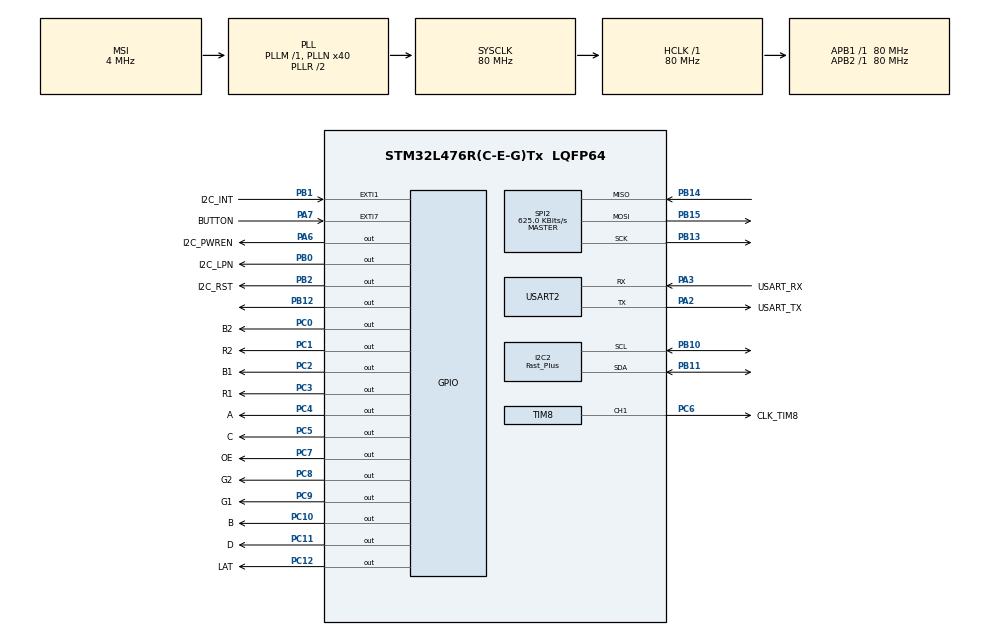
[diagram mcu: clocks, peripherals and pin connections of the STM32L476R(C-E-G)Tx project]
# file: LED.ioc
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Dma.Request0=TIM8_CH1
Dma.Request1=USART2_TX
Dma.TIM8_CH1.0.Direction=DMA_MEMORY_TO_PERIPH
Dma.TIM8_CH1.0.Instance=DMA2_Channel6
Dma.TIM8_CH1.0.MemDataAlignment=DMA_MDATAALIGN_WORD
Dma.TIM8_CH1.0.MemInc=DMA_MINC_ENABLE
Dma.TIM8_CH1.0.Mode=DMA_NORMAL
Dma.TIM8_CH1.0.PeriphDataAlignment=DMA_PDATAALIGN_WORD
Dma.TIM8_CH1.0.PeriphInc=DMA_PINC_DISABLE
Dma.TIM8_CH1.0.Priority=DMA_PRIORITY_LOW
Dma.USART2_TX.1.Direction=DMA_MEMORY_TO_PERIPH
Dma.USART2_TX.1.Instance=DMA1_Channel7
Dma.USART2_TX.1.MemDataAlignment=DMA_MDATAALIGN_BYTE
Dma.USART2_TX.1.MemInc=DMA_MINC_ENABLE
Dma.USART2_TX.1.Mode=DMA_CIRCULAR
Dma.USART2_TX.1.PeriphDataAlignment=DMA_PDATAALIGN_BYTE
Dma.USART2_TX.1.PeriphInc=DMA_PINC_DISABLE
Dma.USART2_TX.1.Priority=DMA_PRIORITY_LOW
FATFS._FS_LOCK=0
FATFS._USE_LFN=3
FATFS._USE_STRFUNC=1
FREERTOS.Tasks01=defaultTask,0,2048,StartDefaultTask,Default,NULL,Dynamic,NULL,NULL
FREERTOS.configTOTAL_HEAP_SIZE=16000
I2C2.I2C_Speed_Mode=I2C_Fast_Plus
I2C2.Timing=0x00B10E24
Mcu.Family=STM32L4
Mcu.Name=STM32L476R(C-E-G)Tx
Mcu.Package=LQFP64
Mcu.UserConstants=PWM_FILL,1;TIM8_PRESCALER,3;REPETITIONS,64;PWM_PERIOD,5
NVIC.DMA1_Channel7_IRQn=true\:5\:0\:false\:false\:true\:true\:false\:true\:true
NVIC.DMA2_Channel6_IRQn=true\:5\:0\:false\:false\:true\:true\:false\:true\:true
NVIC.EXTI1_IRQn=true\:5\:0\:false\:false\:true\:true\:true\:true\:true
NVIC.EXTI9_5_IRQn=true\:5\:0\:false\:false\:true\:true\:true\:true\:true
NVIC.PriorityGroup=NVIC_PRIORITYGROUP_4
NVIC.TIM3_IRQn=true\:5\:0\:false\:false\:true\:true\:true\:true\:true
NVIC.TIM5_IRQn=true\:15\:0\:false\:false\:true\:false\:false\:true\:true
NVIC.TimeBase=TIM5_IRQn
NVIC.TimeBaseIP=TIM5
PA2.GPIO_Label=USART_TX
PA2.Mode=Asynchronous
PA2.Signal=USART2_TX
PA3.GPIO_Label=USART_RX
PA3.Mode=Asynchronous
PA3.Signal=USART2_RX
PA6.GPIO_Label=I2C_PWREN
PA6.Signal=GPIO_Output
PA7.GPIO_Label=BUTTON
PA7.GPIO_ModeDefaultEXTI=GPIO_MODE_IT_RISING_FALLING
PA7.Signal=GPXTI7
PB0.GPIO_Label=I2C_LPN
PB0.PinState=GPIO_PIN_SET
PB0.Signal=GPIO_Output
PB1.GPIO_Label=I2C_INT
PB1.Signal=GPXTI1
PB10.Mode=I2C
PB10.Signal=I2C2_SCL
PB11.Mode=I2C
PB11.Signal=I2C2_SDA
PB12.GPIO_Speed=GPIO_SPEED_FREQ_HIGH
PB12.PinState=GPIO_PIN_SET
PB12.Signal=GPIO_Output
PB13.Mode=Full_Duplex_Master
PB13.Signal=SPI2_SCK
PB14.Mode=Full_Duplex_Master
PB14.Signal=SPI2_MISO
PB15.Mode=Full_Duplex_Master
PB15.Signal=SPI2_MOSI
PB2.GPIO_Label=I2C_RST
PB2.Signal=GPIO_Output
PC0.GPIO_Label=B2
PC0.GPIO_Speed=GPIO_SPEED_FREQ_VERY_HIGH
PC0.Signal=GPIO_Output
PC1.GPIO_Label=R2
PC1.GPIO_Speed=GPIO_SPEED_FREQ_VERY_HIGH
PC1.Signal=GPIO_Output
PC10.GPIO_Label=B
PC10.GPIO_Speed=GPIO_SPEED_FREQ_VERY_HIGH
PC10.Signal=GPIO_Output
PC11.GPIO_Label=D
PC11.GPIO_Speed=GPIO_SPEED_FREQ_VERY_HIGH
PC11.Signal=GPIO_Output
PC12.GPIO_Label=LAT
PC12.GPIO_Speed=GPIO_SPEED_FREQ_VERY_HIGH
PC12.Signal=GPIO_Output
PC2.GPIO_Label=B1
PC2.GPIO_Speed=GPIO_SPEED_FREQ_VERY_HIGH
PC2.Signal=GPIO_Output
PC3.GPIO_Label=R1
PC3.GPIO_Speed=GPIO_SPEED_FREQ_VERY_HIGH
PC3.Signal=GPIO_Output
PC4.GPIO_Label=A
PC4.GPIO_Speed=GPIO_SPEED_FREQ_VERY_HIGH
PC4.Signal=GPIO_Output
PC5.GPIO_Label=C
PC5.GPIO_Speed=GPIO_SPEED_FREQ_VERY_HIGH
PC5.Signal=GPIO_Output
PC6.GPIO_Label=CLK_TIM8
PC6.Signal=S_TIM8_CH1
PC7.GPIO_Label=OE
PC7.GPIO_Speed=GPIO_SPEED_FREQ_VERY_HIGH
PC7.Signal=GPIO_Output
PC8.GPIO_Label=G2
PC8.GPIO_Speed=GPIO_SPEED_FREQ_VERY_HIGH
PC8.Signal=GPIO_Output
PC9.GPIO_Label=G1
PC9.GPIO_Speed=GPIO_SPEED_FREQ_VERY_HIGH
PC9.Signal=GPIO_Output
PH0-OSC_IN\ (PH0).Mode=HSE-External-Oscillator
PH0-OSC_IN\ (PH0).Signal=RCC_OSC_IN
PH1-OSC_OUT\ (PH1).Mode=HSE-External-Oscillator
PH1-OSC_OUT\ (PH1).Signal=RCC_OSC_OUT
ProjectManager.HeapSize=0x200
ProjectManager.StackSize=0x400
ProjectManager.TargetToolchain=CMake
RCC.ADCFreq_Value=16000000
RCC.AHBFreq_Value=80000000
RCC.APB1Freq_Value=80000000
RCC.APB1TimFreq_Value=80000000
RCC.APB2Freq_Value=80000000
RCC.APB2TimFreq_Value=80000000
RCC.CortexFreq_Value=80000000
RCC.HCLKFreq_Value=80000000
RCC.HSE_VALUE=8000000
RCC.HSI_VALUE=16000000
RCC.LSE_VALUE=32768
RCC.MSI_VALUE=4000000
RCC.PLLN=40
RCC.SYSCLKFreq_VALUE=80000000
RCC.SYSCLKSource=RCC_SYSCLKSOURCE_PLLCLK
RCC.USBFreq_Value=16000000
RCC.VCOOutputFreq_Value=160000000
SH.S_TIM8_CH1.0=TIM8_CH1,PWM Generation1 CH1
SPI2.BaudRatePrescaler=SPI_BAUDRATEPRESCALER_128
SPI2.CalculateBaudRate=625.0 KBits/s
SPI2.DataSize=SPI_DATASIZE_8BIT
SPI2.Direction=SPI_DIRECTION_2LINES
SPI2.Mode=SPI_MODE_MASTER
SPI2.VirtualType=VM_MASTER
TIM1.Channel-Output\ Compare1\ CH1=TIM_CHANNEL_1
TIM1.Prescaler=79
TIM2.AutoReloadPreload=TIM_AUTORELOAD_PRELOAD_DISABLE
TIM2.Period=\ 4294967295
TIM2.Prescaler=0
TIM3.Period=9999
TIM3.Prescaler=7999
TIM8.AutoReloadPreload=TIM_AUTORELOAD_PRELOAD_ENABLE
TIM8.Channel-PWM\ Generation1\ CH1=TIM_CHANNEL_1
TIM8.Period=PWM_PERIOD -1
TIM8.Prescaler=TIM8_PRESCALER - 1
TIM8.Pulse-PWM\ Generation1\ CH1=PWM_FILL
TIM8.RepetitionCounter=REPETITIONS - 1
USART2.VirtualMode-Asynchronous=VM_ASYNC
VP_FATFS_VS_Generic.Mode=User_defined
VP_FREERTOS_VS_CMSIS_V1.Mode=CMSIS_V1
VP_SYS_VS_tim5.Mode=TIM5
VP_TIM1_VS_ClockSourceINT.Mode=Internal
VP_TIM2_VS_ClockSourceINT.Mode=Internal
VP_TIM3_VS_ClockSourceINT.Mode=Internal
VP_TIM8_VS_ClockSourceINT.Mode=Internal
VP_TIM8_VS_OPM.Mode=OPM_bit
board=custom

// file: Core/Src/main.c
/* USER CODE BEGIN Header */
/**
  ******************************************************************************
  * @file           : main.c
  * @brief          : Main program body
  ******************************************************************************
  * @attention
  *
  * Copyright (c) 2025 STMicroelectronics.
  * All rights reserved.
  *
  * This software is licensed under terms that can be found in the LICENSE file
  * in the root directory of this software component.
  * If no LICENSE file comes with this software, it is provided AS-IS.
  *
  ******************************************************************************
  */
/* USER CODE END Header */
#include "main.h"
#include "cmsis_os.h"
#include "fatfs.h"

/* USER CODE BEGIN Includes */

#include <string.h>
#include "LedMatrix.h"
#include "Canvas.h"
#include "ImageLibrary.h"

//t
#include "RangeSensor.h"        // Nasz interfejs
#include "VL53L7CX_Adapter.h"   // Nasz adapter
#include "ObjectTracker.h"

//a
#include <stdio.h>
#include <string.h>
#include "sd_spi.h"              // Driver SD przez SPI
#include "sd_animation_reader.h" // Czytnik animacji
#include "animation_mapper.h"    // Mapowanie stref/współrzędnych

#include "stm32l4xx_hal.h"
#include "stm32l4xx_hal_uart.h"
#include <stdio.h>
/* USER CODE END Includes */

I2C_HandleTypeDef hi2c2;

SPI_HandleTypeDef hspi2;

TIM_HandleTypeDef htim1;
TIM_HandleTypeDef htim2;
TIM_HandleTypeDef htim3;
TIM_HandleTypeDef htim8;
DMA_HandleTypeDef hdma_tim8_ch1;

UART_HandleTypeDef huart2;
DMA_HandleTypeDef hdma_usart2_tx;

osThreadId defaultTaskHandle;
/* USER CODE BEGIN PV */

BaseType_t xHigherPriorityTaskWoken = pdFALSE;

TaskHandle_t xTaskToNotify = NULL;

static uint16_t FPS = 0;
extern uint32_t const * frame_reg[14];

osThreadId loopTaskHandle;

volatile bool changeImage = true;
volatile int32_t imageIndex = 0;

//t
volatile uint8_t vl53l7cx_int = 0; // Interrupt flag for VL53L7CX
/* USER CODE END PV */

void SystemClock_Config(void);
static void MX_GPIO_Init(void);
static void MX_DMA_Init(void);
static void MX_TIM1_Init(void);
static void MX_TIM2_Init(void);
static void MX_TIM3_Init(void);
static void MX_TIM8_Init(void);
static void MX_I2C2_Init(void);
static void MX_USART2_UART_Init(void);
static void MX_SPI2_Init(void);
void StartDefaultTask(void const * argument);

/* USER CODE BEGIN PFP */
void LoopTask(void const * argument);

//t
void HAL_GPIO_EXTI_Callback(uint16_t GPIO_Pin);
void Debug_PrintState(const TrackedObject *obj); // Deklaracja funkcji debugującej
int _write(int file, char *ptr, int len);

/* USER CODE END PFP */

/* USER CODE BEGIN 0 */
// us delay tim1
void delay_us (uint16_t us)
{
	__HAL_TIM_SET_COUNTER(&htim1,0);  // set the counter value a 0
	while (__HAL_TIM_GET_COUNTER(&htim1) < us);  // wait for the counter to reach the us input in the parameter
}
// tick delay for BCM tim2
void delay_ticks (uint32_t ticks)
{
	__HAL_TIM_SET_COUNTER(&htim2,0);  // set the counter value a 0
	while (__HAL_TIM_GET_COUNTER(&htim2) < ticks);  // wait for the counter to reach the tick input in the parameter
}
// DMA callback - transfer done
void DMA_CB(DMA_HandleTypeDef *hdma){
  GPIOC->BSRR = LAT_Pin;
  //__ISB
  GPIOC->BSRR = (LAT_Pin) << 16;

  // task notify
  vTaskNotifyGiveFromISR(xTaskToNotify,&xHigherPriorityTaskWoken );
  xTaskToNotify = NULL;
  portYIELD_FROM_ISR( xHigherPriorityTaskWoken);
}

// t
// Przekierowanie printf na UART2
int _write(int file, char *ptr, int len) {
    HAL_UART_Transmit(&huart2, (uint8_t *)ptr, len, 100);
    return len;
}

void HAL_GPIO_EXTI_Callback(uint16_t GPIO_Pin) {
  if (GPIO_Pin == I2C_INT_Pin)
  {
    vl53l7cx_int = 1;
  }
  if (GPIO_Pin == BUTTON_Pin)
  {
    if (GPIO_Pin == BUTTON_Pin)
    {
        GPIO_PinState state = HAL_GPIO_ReadPin(BUTTON_GPIO_Port, BUTTON_Pin);

        if (state == GPIO_PIN_RESET)
        {
            imageIndex++;
            changeImage = true;
        }
    }
  }
}

static inline uint32_t TrackerToZone(const ObjectTracker* t) {
    return AnimationMapper_GetFrameIndex(ObjectTracker_GetX(t),
                                         ObjectTracker_GetY(t));
}

// Funkcja rysująca "Radar" w terminalu ASCII
void Debug_PrintMatrix(const ObjectTracker *tracker, const RangeSensorFrame *frame) {
    // 1. Wyczyść ekran
    printf("\033[2J\033[H");

    printf("=== MAPA ODLEGLOSCI (8x8) ===\r\n");
    printf("     0    1    2    3    4    5    6    7\r\n");
    printf("   ----------------------------------------\r\n");

    // 2. Pętla rysująca siatkę (bez zmian)
    for (int y = 0; y < 8; y++) {
        printf("%d | ", y);
        for (int x = 0; x < 8; x++) {
            int idx = y * 8 + x;
            uint16_t dist = frame->distances_mm[idx];
            uint8_t stat = frame->statuses[idx];

            if (stat == 5 || stat == 9) {
                printf("%4d ", dist);
            } else {
                printf("---- ");
            }
        }
        printf("|\r\n");
    }
    printf("   ----------------------------------------\r\n");

    // 3. Wyniki Trackera (TERAZ UŻYWAMY GETTERÓW POPRAWNIE)
    printf("\r\n=== WYNIKI ALGORYTMU ===\r\n");

    // Używamy funkcji ObjectTracker_IsDetected zamiast grzebać w strukturze
    bool detected = ObjectTracker_IsDetected(tracker);

    printf("Status:      %s\r\n", detected ? "[ OBIEKT WYKRYTY ]" : "[ Szukam... ]");

    // Jeśli nie wykryto, wartości mogą być śmieciowe/stare, ale wyświetlamy je
    printf("Pozycja X:   %5.2f  (Srodek to 3.5)\r\n", ObjectTracker_GetX(tracker));
    printf("Pozycja Y:   %5.2f  (Srodek to 3.5)\r\n", ObjectTracker_GetY(tracker));
    printf("Odleglosc:   %5.0f mm\r\n", ObjectTracker_GetDistance(tracker));
    printf("Pewnosc:     %5.0f %%\r\n", ObjectTracker_GetProbability(tracker) * 100.0f);
}
/* USER CODE END 0 */

int main(void)
{

  /* MCU Configuration--------------------------------------------------------*/

  /* Reset of all peripherals, Initializes the Flash interface and the Systick. */
  HAL_Init();

  /* Configure the system clock */
  SystemClock_Config();

  /* Initialize all configured peripherals */
  MX_GPIO_Init();
  MX_DMA_Init();
  MX_TIM1_Init();
  MX_TIM2_Init();
  MX_TIM3_Init();
  MX_TIM8_Init();
  MX_I2C2_Init();
  MX_USART2_UART_Init();
  MX_SPI2_Init();
  MX_FATFS_Init();
  /* USER CODE BEGIN 2 */

  hdma_tim8_ch1.XferCpltCallback = DMA_CB;
  HAL_TIM_Base_Start(&htim1);
  HAL_TIM_Base_Start(&htim2);
  HAL_TIM_Base_Start_IT(&htim3);
  // turns on dma updates from timer
  TIM8->DIER |= TIM_DIER_CC1DE;
  // sets channel 1 as compare output
  TIM8->CCER = TIM_CCER_CC1E;
  // enables clk pin compare output
  TIM8->BDTR |= TIM_BDTR_MOE;

  if(LedMatrix_Init()){
    Error_Handler();
  }

  /* USER CODE END 2 */

  /* Create the thread(s) */
  /* definition and creation of defaultTask */
  osThreadDef(defaultTask, StartDefaultTask, osPriorityNormal, 0, 2048);
  defaultTaskHandle = osThreadCreate(osThread(defaultTask), NULL);

  /* USER CODE BEGIN RTOS_THREADS */
  /* add threads, ... */
  osThreadDef(LedLoop, LoopTask, osPriorityHigh, 0, 128);
  loopTaskHandle = osThreadCreate(osThread(LedLoop), NULL);

  /* USER CODE END RTOS_THREADS */

  /* Start scheduler */
  osKernelStart();

  /* We should never get here as control is now taken by the scheduler */

  /* Infinite loop */
  while (1)
  {

  }
}

void SystemClock_Config(void)
{
  RCC_OscInitTypeDef RCC_OscInitStruct = {0};
  RCC_ClkInitTypeDef RCC_ClkInitStruct = {0};

  /** Configure the main internal regulator output voltage
  */
  if (HAL_PWREx_ControlVoltageScaling(PWR_REGULATOR_VOLTAGE_SCALE1) != HAL_OK)
  {
    Error_Handler();
  }

  /** Initializes the RCC Oscillators according to the specified parameters
  * in the RCC_OscInitTypeDef structure.
  */
  RCC_OscInitStruct.OscillatorType = RCC_OSCILLATORTYPE_MSI;
  RCC_OscInitStruct.MSIState = RCC_MSI_ON;
  RCC_OscInitStruct.MSICalibrationValue = 0;
  RCC_OscInitStruct.MSIClockRange = RCC_MSIRANGE_6;
  RCC_OscInitStruct.PLL.PLLState = RCC_PLL_ON;
  RCC_OscInitStruct.PLL.PLLSource = RCC_PLLSOURCE_MSI;
  RCC_OscInitStruct.PLL.PLLM = 1;
  RCC_OscInitStruct.PLL.PLLN = 40;
  RCC_OscInitStruct.PLL.PLLP = RCC_PLLP_DIV7;
  RCC_OscInitStruct.PLL.PLLQ = RCC_PLLQ_DIV2;
  RCC_OscInitStruct.PLL.PLLR = RCC_PLLR_DIV2;
  if (HAL_RCC_OscConfig(&RCC_OscInitStruct) != HAL_OK)
  {
    Error_Handler();
  }

  /** Initializes the CPU, AHB and APB buses clocks
  */
  RCC_ClkInitStruct.ClockType = RCC_CLOCKTYPE_HCLK|RCC_CLOCKTYPE_SYSCLK
                              |RCC_CLOCKTYPE_PCLK1|RCC_CLOCKTYPE_PCLK2;
  RCC_ClkInitStruct.SYSCLKSource = RCC_SYSCLKSOURCE_PLLCLK;
  RCC_ClkInitStruct.AHBCLKDivider = RCC_SYSCLK_DIV1;
  RCC_ClkInitStruct.APB1CLKDivider = RCC_HCLK_DIV1;
  RCC_ClkInitStruct.APB2CLKDivider = RCC_HCLK_DIV1;

  if (HAL_RCC_ClockConfig(&RCC_ClkInitStruct, FLASH_LATENCY_4) != HAL_OK)
  {
    Error_Handler();
  }
}

static void MX_I2C2_Init(void)
{

  hi2c2.Instance = I2C2;
  hi2c2.Init.Timing = 0x00B10E24;
  hi2c2.Init.OwnAddress1 = 0;
  hi2c2.Init.AddressingMode = I2C_ADDRESSINGMODE_7BIT;
  hi2c2.Init.DualAddressMode = I2C_DUALADDRESS_DISABLE;
  hi2c2.Init.OwnAddress2 = 0;
  hi2c2.Init.OwnAddress2Masks = I2C_OA2_NOMASK;
  hi2c2.Init.GeneralCallMode = I2C_GENERALCALL_DISABLE;
  hi2c2.Init.NoStretchMode = I2C_NOSTRETCH_DISABLE;
  if (HAL_I2C_Init(&hi2c2) != HAL_OK)
  {
    Error_Handler();
  }

  /** Configure Analogue filter
  */
  if (HAL_I2CEx_ConfigAnalogFilter(&hi2c2, I2C_ANALOGFILTER_ENABLE) != HAL_OK)
  {
    Error_Handler();
  }

  /** Configure Digital filter
  */
  if (HAL_I2CEx_ConfigDigitalFilter(&hi2c2, 0) != HAL_OK)
  {
    Error_Handler();
  }

  /** I2C Fast mode Plus enable
  */
  HAL_I2CEx_EnableFastModePlus(I2C_FASTMODEPLUS_I2C2);

}

static void MX_SPI2_Init(void)
{

  /* SPI2 parameter configuration*/
  hspi2.Instance = SPI2;
  hspi2.Init.Mode = SPI_MODE_MASTER;
  hspi2.Init.Direction = SPI_DIRECTION_2LINES;
  hspi2.Init.DataSize = SPI_DATASIZE_8BIT;
  hspi2.Init.CLKPolarity = SPI_POLARITY_LOW;
  hspi2.Init.CLKPhase = SPI_PHASE_1EDGE;
  hspi2.Init.NSS = SPI_NSS_SOFT;
  hspi2.Init.BaudRatePrescaler = SPI_BAUDRATEPRESCALER_128;
  hspi2.Init.FirstBit = SPI_FIRSTBIT_MSB;
  hspi2.Init.TIMode = SPI_TIMODE_DISABLE;
  hspi2.Init.CRCCalculation = SPI_CRCCALCULATION_DISABLE;
  hspi2.Init.CRCPolynomial = 7;
  hspi2.Init.CRCLength = SPI_CRC_LENGTH_DATASIZE;
  hspi2.Init.NSSPMode = SPI_NSS_PULSE_ENABLE;
  if (HAL_SPI_Init(&hspi2) != HAL_OK)
  {
    Error_Handler();
  }

}

static void MX_TIM1_Init(void)
{

  TIM_ClockConfigTypeDef sClockSourceConfig = {0};
  TIM_MasterConfigTypeDef sMasterConfig = {0};

  htim1.Instance = TIM1;
  htim1.Init.Prescaler = 79;
  htim1.Init.CounterMode = TIM_COUNTERMODE_UP;
  htim1.Init.Period = 65535;
  htim1.Init.ClockDivision = TIM_CLOCKDIVISION_DIV1;
  htim1.Init.RepetitionCounter = 0;
  htim1.Init.AutoReloadPreload = TIM_AUTORELOAD_PRELOAD_DISABLE;
  if (HAL_TIM_Base_Init(&htim1) != HAL_OK)
  {
    Error_Handler();
  }
  sClockSourceConfig.ClockSource = TIM_CLOCKSOURCE_INTERNAL;
  if (HAL_TIM_ConfigClockSource(&htim1, &sClockSourceConfig) != HAL_OK)
  {
    Error_Handler();
  }
  sMasterConfig.MasterOutputTrigger = TIM_TRGO_RESET;
  sMasterConfig.MasterOutputTrigger2 = TIM_TRGO2_RESET;
  sMasterConfig.MasterSlaveMode = TIM_MASTERSLAVEMODE_DISABLE;
  if (HAL_TIMEx_MasterConfigSynchronization(&htim1, &sMasterConfig) != HAL_OK)
  {
    Error_Handler();
  }

}

static void MX_TIM2_Init(void)
{

  TIM_ClockConfigTypeDef sClockSourceConfig = {0};
  TIM_MasterConfigTypeDef sMasterConfig = {0};

  htim2.Instance = TIM2;
  htim2.Init.Prescaler = 0;
  htim2.Init.CounterMode = TIM_COUNTERMODE_UP;
  htim2.Init.Period = 4294967295;
  htim2.Init.ClockDivision = TIM_CLOCKDIVISION_DIV1;
  htim2.Init.AutoReloadPreload = TIM_AUTORELOAD_PRELOAD_DISABLE;
  if (HAL_TIM_Base_Init(&htim2) != HAL_OK)
  {
    Error_Handler();
  }
  sClockSourceConfig.ClockSource = TIM_CLOCKSOURCE_INTERNAL;
  if (HAL_TIM_ConfigClockSource(&htim2, &sClockSourceConfig) != HAL_OK)
  {
    Error_Handler();
  }
  sMasterConfig.MasterOutputTrigger = TIM_TRGO_RESET;
  sMasterConfig.MasterSlaveMode = TIM_MASTERSLAVEMODE_DISABLE;
  if (HAL_TIMEx_MasterConfigSynchronization(&htim2, &sMasterConfig) != HAL_OK)
  {
    Error_Handler();
  }

}

static void MX_TIM3_Init(void)
{

  TIM_ClockConfigTypeDef sClockSourceConfig = {0};
  TIM_MasterConfigTypeDef sMasterConfig = {0};

  htim3.Instance = TIM3;
  htim3.Init.Prescaler = 7999;
  htim3.Init.CounterMode = TIM_COUNTERMODE_UP;
  htim3.Init.Period = 9999;
  htim3.Init.ClockDivision = TIM_CLOCKDIVISION_DIV1;
  htim3.Init.AutoReloadPreload = TIM_AUTORELOAD_PRELOAD_DISABLE;
  if (HAL_TIM_Base_Init(&htim3) != HAL_OK)
  {
    Error_Handler();
  }
  sClockSourceConfig.ClockSource = TIM_CLOCKSOURCE_INTERNAL;
  if (HAL_TIM_ConfigClockSource(&htim3, &sClockSourceConfig) != HAL_OK)
  {
    Error_Handler();
  }
  sMasterConfig.MasterOutputTrigger = TIM_TRGO_RESET;
  sMasterConfig.MasterSlaveMode = TIM_MASTERSLAVEMODE_DISABLE;
  if (HAL_TIMEx_MasterConfigSynchronization(&htim3, &sMasterConfig) != HAL_OK)
  {
    Error_Handler();
  }

}

static void MX_TIM8_Init(void)
{

  TIM_ClockConfigTypeDef sClockSourceConfig = {0};
  TIM_MasterConfigTypeDef sMasterConfig = {0};
  TIM_OC_InitTypeDef sConfigOC = {0};
  TIM_BreakDeadTimeConfigTypeDef sBreakDeadTimeConfig = {0};

  htim8.Instance = TIM8;
  htim8.Init.Prescaler = TIM8_PRESCALER - 1;
  htim8.Init.CounterMode = TIM_COUNTERMODE_UP;
  htim8.Init.Period = PWM_PERIOD -1;
  htim8.Init.ClockDivision = TIM_CLOCKDIVISION_DIV1;
  htim8.Init.RepetitionCounter = REPETITIONS - 1;
  htim8.Init.AutoReloadPreload = TIM_AUTORELOAD_PRELOAD_ENABLE;
  if (HAL_TIM_Base_Init(&htim8) != HAL_OK)
  {
    Error_Handler();
  }
  sClockSourceConfig.ClockSource = TIM_CLOCKSOURCE_INTERNAL;
  if (HAL_TIM_ConfigClockSource(&htim8, &sClockSourceConfig) != HAL_OK)
  {
    Error_Handler();
  }
  if (HAL_TIM_PWM_Init(&htim8) != HAL_OK)
  {
    Error_Handler();
  }
  if (HAL_TIM_OnePulse_Init(&htim8, TIM_OPMODE_SINGLE) != HAL_OK)
  {
    Error_Handler();
  }
  sMasterConfig.MasterOutputTrigger = TIM_TRGO_RESET;
  sMasterConfig.MasterOutputTrigger2 = TIM_TRGO2_RESET;
  sMasterConfig.MasterSlaveMode = TIM_MASTERSLAVEMODE_DISABLE;
  if (HAL_TIMEx_MasterConfigSynchronization(&htim8, &sMasterConfig) != HAL_OK)
  {
    Error_Handler();
  }
  sConfigOC.OCMode = TIM_OCMODE_PWM1;
  sConfigOC.Pulse = PWM_FILL;
  sConfigOC.OCPolarity = TIM_OCPOLARITY_HIGH;
  sConfigOC.OCNPolarity = TIM_OCNPOLARITY_HIGH;
  sConfigOC.OCFastMode = TIM_OCFAST_DISABLE;
  sConfigOC.OCIdleState = TIM_OCIDLESTATE_RESET;
  sConfigOC.OCNIdleState = TIM_OCNIDLESTATE_RESET;
  if (HAL_TIM_PWM_ConfigChannel(&htim8, &sConfigOC, TIM_CHANNEL_1) != HAL_OK)
  {
    Error_Handler();
  }
  sBreakDeadTimeConfig.OffStateRunMode = TIM_OSSR_DISABLE;
  sBreakDeadTimeConfig.OffStateIDLEMode = TIM_OSSI_DISABLE;
  sBreakDeadTimeConfig.LockLevel = TIM_LOCKLEVEL_OFF;
  sBreakDeadTimeConfig.DeadTime = 0;
  sBreakDeadTimeConfig.BreakState = TIM_BREAK_DISABLE;
  sBreakDeadTimeConfig.BreakPolarity = TIM_BREAKPOLARITY_HIGH;
  sBreakDeadTimeConfig.BreakFilter = 0;
  sBreakDeadTimeConfig.Break2State = TIM_BREAK2_DISABLE;
  sBreakDeadTimeConfig.Break2Polarity = TIM_BREAK2POLARITY_HIGH;
  sBreakDeadTimeConfig.Break2Filter = 0;
  sBreakDeadTimeConfig.AutomaticOutput = TIM_AUTOMATICOUTPUT_DISABLE;
  if (HAL_TIMEx_ConfigBreakDeadTime(&htim8, &sBreakDeadTimeConfig) != HAL_OK)
  {
    Error_Handler();
  }
  HAL_TIM_MspPostInit(&htim8);

}

static void MX_USART2_UART_Init(void)
{

  huart2.Instance = USART2;
  huart2.Init.BaudRate = 115200;
  huart2.Init.WordLength = UART_WORDLENGTH_8B;
  huart2.Init.StopBits = UART_STOPBITS_1;
  huart2.Init.Parity = UART_PARITY_NONE;
  huart2.Init.Mode = UART_MODE_TX_RX;
  huart2.Init.HwFlowCtl = UART_HWCONTROL_NONE;
  huart2.Init.OverSampling = UART_OVERSAMPLING_16;
  huart2.Init.OneBitSampling = UART_ONE_BIT_SAMPLE_DISABLE;
  huart2.AdvancedInit.AdvFeatureInit = UART_ADVFEATURE_NO_INIT;
  if (HAL_UART_Init(&huart2) != HAL_OK)
  {
    Error_Handler();
  }

}

static void MX_DMA_Init(void)
{

  /* DMA controller clock enable */
  __HAL_RCC_DMA2_CLK_ENABLE();
  __HAL_RCC_DMA1_CLK_ENABLE();

  /* DMA interrupt init */
  /* DMA1_Channel7_IRQn interrupt configuration */
  HAL_NVIC_SetPriority(DMA1_Channel7_IRQn, 5, 0);
  HAL_NVIC_EnableIRQ(DMA1_Channel7_IRQn);
  /* DMA2_Channel6_IRQn interrupt configuration */
  HAL_NVIC_SetPriority(DMA2_Channel6_IRQn, 5, 0);
  HAL_NVIC_EnableIRQ(DMA2_Channel6_IRQn);

}

static void MX_GPIO_Init(void)
{
  GPIO_InitTypeDef GPIO_InitStruct = {0};

  /* GPIO Ports Clock Enable */
  __HAL_RCC_GPIOH_CLK_ENABLE();
  __HAL_RCC_GPIOC_CLK_ENABLE();
  __HAL_RCC_GPIOA_CLK_ENABLE();
  __HAL_RCC_GPIOB_CLK_ENABLE();

  /*Configure GPIO pin Output Level */
  HAL_GPIO_WritePin(GPIOC, B2_Pin|R2_Pin|B1_Pin|R1_Pin
                          |A_Pin|C_Pin|OE_Pin|G2_Pin
                          |G1_Pin|B_Pin|D_Pin|LAT_Pin, GPIO_PIN_RESET);

  /*Configure GPIO pin Output Level */
  HAL_GPIO_WritePin(I2C_PWREN_GPIO_Port, I2C_PWREN_Pin, GPIO_PIN_RESET);

  /*Configure GPIO pin Output Level */
  HAL_GPIO_WritePin(GPIOB, I2C_LPN_Pin|GPIO_PIN_12, GPIO_PIN_SET);

  /*Configure GPIO pin Output Level */
  HAL_GPIO_WritePin(I2C_RST_GPIO_Port, I2C_RST_Pin, GPIO_PIN_RESET);

  /*Configure GPIO pins : B2_Pin R2_Pin B1_Pin R1_Pin
                           A_Pin C_Pin OE_Pin G2_Pin
                           G1_Pin B_Pin D_Pin LAT_Pin */
  GPIO_InitStruct.Pin = B2_Pin|R2_Pin|B1_Pin|R1_Pin
                          |A_Pin|C_Pin|OE_Pin|G2_Pin
                          |G1_Pin|B_Pin|D_Pin|LAT_Pin;
  GPIO_InitStruct.Mode = GPIO_MODE_OUTPUT_PP;
  GPIO_InitStruct.Pull = GPIO_NOPULL;
  GPIO_InitStruct.Speed = GPIO_SPEED_FREQ_VERY_HIGH;
  HAL_GPIO_Init(GPIOC, &GPIO_InitStruct);

  /*Configure GPIO pin : I2C_PWREN_Pin */
  GPIO_InitStruct.Pin = I2C_PWREN_Pin;
  GPIO_InitStruct.Mode = GPIO_MODE_OUTPUT_PP;
  GPIO_InitStruct.Pull = GPIO_NOPULL;
  GPIO_InitStruct.Speed = GPIO_SPEED_FREQ_LOW;
  HAL_GPIO_Init(I2C_PWREN_GPIO_Port, &GPIO_InitStruct);

  /*Configure GPIO pin : BUTTON_Pin */
  GPIO_InitStruct.Pin = BUTTON_Pin;
  GPIO_InitStruct.Mode = GPIO_MODE_IT_RISING_FALLING;
  GPIO_InitStruct.Pull = GPIO_NOPULL;
  HAL_GPIO_Init(BUTTON_GPIO_Port, &GPIO_InitStruct);

  /*Configure GPIO pins : I2C_LPN_Pin I2C_RST_Pin */
  GPIO_InitStruct.Pin = I2C_LPN_Pin|I2C_RST_Pin;
  GPIO_InitStruct.Mode = GPIO_MODE_OUTPUT_PP;
  GPIO_InitStruct.Pull = GPIO_NOPULL;
  GPIO_InitStruct.Speed = GPIO_SPEED_FREQ_LOW;
  HAL_GPIO_Init(GPIOB, &GPIO_InitStruct);

  /*Configure GPIO pin : I2C_INT_Pin */
  GPIO_InitStruct.Pin = I2C_INT_Pin;
  GPIO_InitStruct.Mode = GPIO_MODE_IT_RISING;
  GPIO_InitStruct.Pull = GPIO_NOPULL;
  HAL_GPIO_Init(I2C_INT_GPIO_Port, &GPIO_InitStruct);

  /*Configure GPIO pin : PB12 */
  GPIO_InitStruct.Pin = GPIO_PIN_12;
  GPIO_InitStruct.Mode = GPIO_MODE_OUTPUT_PP;
  GPIO_InitStruct.Pull = GPIO_NOPULL;
  GPIO_InitStruct.Speed = GPIO_SPEED_FREQ_HIGH;
  HAL_GPIO_Init(GPIOB, &GPIO_InitStruct);

  /* EXTI interrupt init*/
  HAL_NVIC_SetPriority(EXTI1_IRQn, 5, 0);
  HAL_NVIC_EnableIRQ(EXTI1_IRQn);

  HAL_NVIC_SetPriority(EXTI9_5_IRQn, 5, 0);
  HAL_NVIC_EnableIRQ(EXTI9_5_IRQn);

}

/* USER CODE BEGIN 4 */
void LoopTask(void const * argument)
{
  for(;;){
    LedMatrix_DisplayFrame();
    osDelay(1);
  }
}
/* USER CODE END 4 */

void StartDefaultTask(void const * argument)
{
  /* USER CODE BEGIN 5 */

  // TOF sersor's variables
  RangeSensor mySensor;
  ObjectTracker myTracker;
  RangeSensorFrame currentFrame;

  ObjectTrackerConfig tracker_cfg = {
      .min_dist_mm     = 50.0f,
      .max_dist_mm     = 2000.0f,
      .fade_dist_mm    = 300.0f,
      .min_mass_detect = 3.5f,
      .smooth_factor   = 0.15f,
      .sensor_fov_deg  = 45.0f  // Standardowe FOV dla VL53L7CX (45x45)
  };

  // Image's variables
  Canvas mainCanvas;
  Frame outputFrame;
  ImageBackground mainBG;
  ImageMovingItem mainItem;

  MoveRange moveLimts = {
    .maxOffsetX = ItemOffsets[imageIndex][0],
    .maxOffsetY = ItemOffsets[imageIndex][1]
  };

  PositionDataRange inputRange = {
    .minX = 0.0,
    .maxX = 7.0,
    .minY = 0.0,
    .maxY = 7.0
  };

  Image mainImage = {
    .Background = &mainBG,
    .MovingItem = &mainItem
  };

#if (USE_SD)
  // TOF init
  VL53L7CX_Adapter_Construct(&mySensor, &hi2c2, 0x52);
#endif
  if (RangeSensor_Init(&mySensor) != RS_OK){
    Error_Handler();
  }

  ObjectTracker_Init(&myTracker, &tracker_cfg);

  if (RangeSensor_Start(&mySensor) != RS_OK) {
    Error_Handler();
  }
#if (USE_SD)
  //SD init
  // SD init
  SD_Status_t sd_status = SD_Init();
  if (sd_status != SD_OK) { for(;;) osDelay(1000); }
#endif
  // Init Canvas and Image
  if(Canvas_Create(&mainCanvas)){
    Error_Handler();
  }
  ImageBackground_Init(&mainBG, BackgroundLibrary[imageIndex], WHITE);
  ImageMovingItem_Init(&mainItem, MovingItemLibrary[imageIndex], moveLimts, inputRange, RED);

#if (USE_SD)
  //FatFS mount
  FRESULT fres = f_mount(&USERFatFS, USERPath, 1);
  if (fres != FR_OK) { for(;;) osDelay(1000); }

  // Animation Reader
  SDAnimationReader_t reader;
  SDAnimationReader_Create(&reader);
  AnimationStatus_t st = AnimationReader_Init(&reader.base, "/TEST~1.ANI"); // 8.3 nazwa
  if (st != ANIM_OK) { for(;;) osDelay(1000); }
  uint32_t* frame_buf = pvPortMalloc(ANIMATION_FRAME_SIZE_BYTES);
  if (!frame_buf) { for(;;) osDelay(1000); }

  //open anim
  SDAnimationReader_t reader;
  SDAnimationReader_Create(&reader);
  AnimationReader_Init(&reader.base, "/TEST~1.ANI");
#endif
  // task loop
  for(;;)
  {
      // read sensor
      RangeSensor_Status status = RangeSensor_GetFrame(&mySensor, &currentFrame);

      if (status == RS_OK) {
          // calculate sensor read
          ObjectTracker_Process(&myTracker, &currentFrame);

          // if button pressed load new image
          if(changeImage){
            changeImage = false;
            ImageBackground_SetNewBackgroundData(&mainBG, BackgroundLibrary[imageIndex % LIB_IMAGES_CNT]);
            ImageMovingItem_SetNewItemData(&mainItem, MovingItemLibrary[imageIndex % LIB_IMAGES_CNT]);
          }

          // set image accordingly to sensor read
          ImageMovingItem_SetPosition(&mainItem, ObjectTracker_GetX(&myTracker), ObjectTracker_GetY(&myTracker));
#if (USE_SD)
          uint32_t zone = TrackerToZone(&myTracker);
          AnimationMapper_LoadFrameByZone(&reader.base, zone, frame_buf);
#endif

          // put image on canvas
          Canvas_PutImage(&mainCanvas, &mainImage);

          // generate output frame
          outputFrame = Canvas_GenerateFrame(&mainCanvas);
          // send frame to display
          LedMatrix_ChangeFrame(outputFrame);
      }
      else if (status == RS_ERROR_HW_FAILURE) {
          Error_Handler();
      }
  }
  /* USER CODE END 5 */
}

void HAL_TIM_PeriodElapsedCallback(TIM_HandleTypeDef *htim)
{
  if (htim->Instance == TIM5)
  {
    HAL_IncTick();
  }
  /* USER CODE BEGIN Callback 1 */
  // FPS cnt tim3
  if(htim->Instance == TIM3){
    FPS = 0;
  }
  /* USER CODE END Callback 1 */
}

void Error_Handler(void)
{
  /* USER CODE BEGIN Error_Handler_Debug */
  /* User can add his own implementation to report the HAL error return state */
  __disable_irq();
  while (1)
  {
    osDelay(1000);
  }
  /* USER CODE END Error_Handler_Debug */
}
